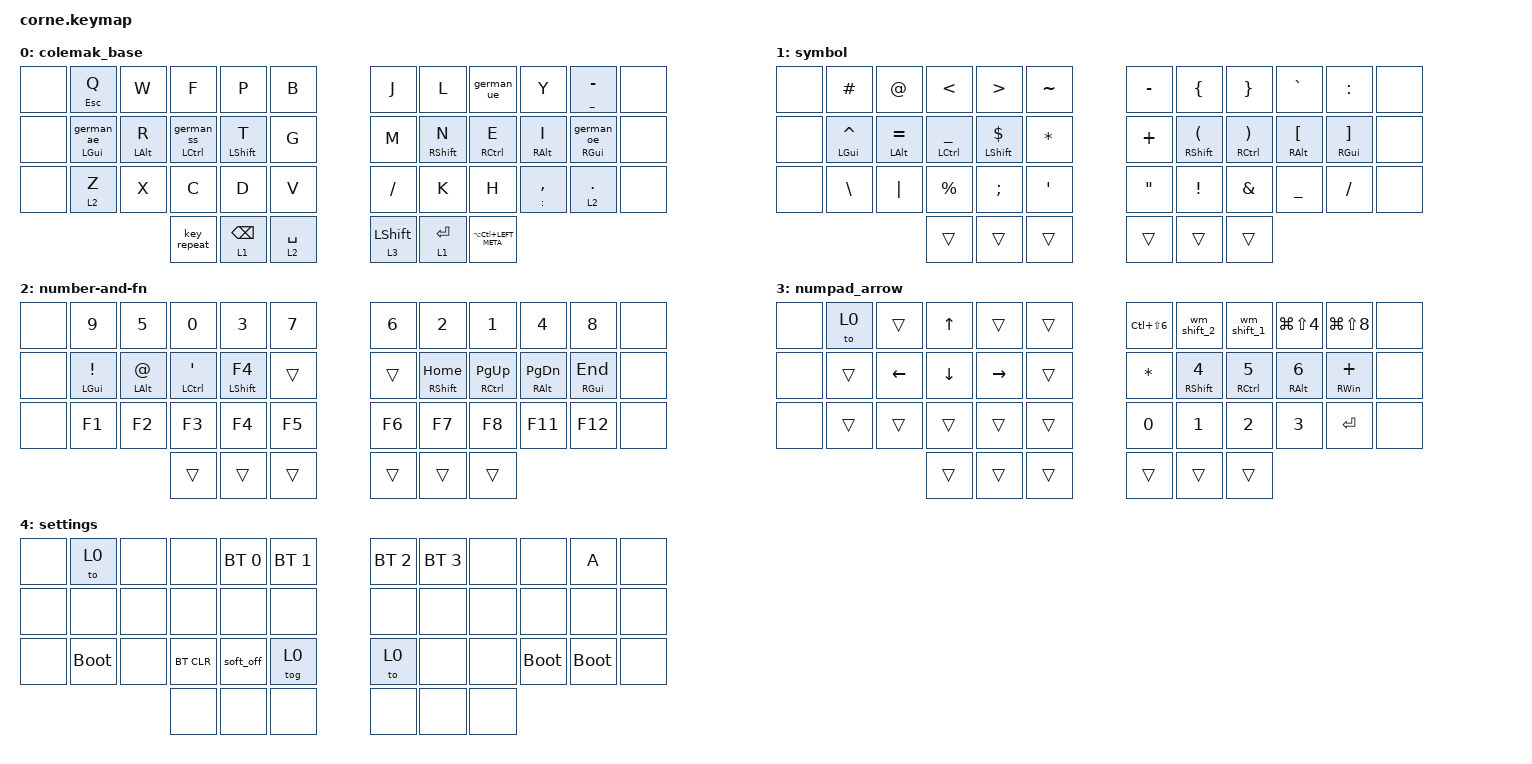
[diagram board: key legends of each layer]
/*
 * Copyright (c) 2020 The ZMK Contributors
 *
 * SPDX-License-Identifier: MIT
 */

#include <behaviors.dtsi>
#include <dt-bindings/zmk/bt.h>
#include <dt-bindings/zmk/keys.h>

#define QWERTY 0
#define SYM    1
#define SYM_2  2
#define FNC    3
#define FNC_2  4

&mt {
    //  flavor = "tap-preferred";
    // tapping_term_ms = <200>;

    tapping-term-ms = <230>;
    flavor = "balanced";
    quick-tap-ms = <180>;
};

/ {
    combos {
        compatible = "zmk,combos";

        esc {
            bindings = <&kp ESCAPE>;
            key-positions = <1 2>;
            layers = <0 1 2 3>;
        };

        cut {
            bindings = <&kp LC(X)>;
            key-positions = <26 27>;
            layers = <0 1 2 3>;
        };

        copy {
            bindings = <&kp LC(C)>;
            key-positions = <27 28>;
            layers = <0 1 2 3>;
        };

        paste {
            bindings = <&kp LC(V)>;
            key-positions = <29 28>;
            layers = <0 1 2 3>;
        };

        to_default {
            bindings = <&to 0>;
            key-positions = <10 1>;
            layers = <1 2 3 4>;
        };

        alt_quotes {
            bindings = <&kp SINGLE_QUOTE>;
            key-positions = <6 7>;
            layers = <0>;
        };

        numpad {
            bindings = <&to 3>;
            key-positions = <13 2 15>;
            layers = <0>;
        };

        backspace {
            bindings = <&kp BACKSPACE>;
            key-positions = <3 4>;
            layers = <0 2 3 1>;
        };

        delete {
            bindings = <&kp DELETE>;
            key-positions = <7 8>;
            layers = <0 1 2 3>;
        };

        settings {
            bindings = <&to 4>;
            key-positions = <1 2 3>;
            layers = <0>;
        };

        improve_prompt {
            bindings = <&llm_prompt>;
            key-positions = <21 37>;
            layers = <0>;
        };

        alt_ret {
            bindings = <&kp RET>;
            key-positions = <16 17>;
            layers = <0 1 2 3>;
        };

        capsword {
            bindings = <&custom_capsword>;
            key-positions = <34 33>;
            layers = <0>;
        };

        alt_tab {
            bindings = <&kp TAB>;
            key-positions = <19 18>;
        };

        alt_semi {
            bindings = <&kp SEMI>;
            key-positions = <5 4>;
        };

        zmk-stud {
            bindings = <&studio_unlock>;
            key-positions = <25 13 1>;
        };
    };

    macros {
        llm_prompt: llm_prompt {
            compatible = "zmk,behavior-macro";
            #binding-cells = <0>;
            bindings = <&kp LS(RET) &kp MINUS &kp MINUS &kp MINUS &kp SPACE &kp I &kp M &kp P &kp R &kp O &kp V &kp E &kp SPACE &kp T &kp H &kp E &kp SPACE &kp W &kp R &kp I &kp T &kp I &kp N &kp G &kp RETURN>;
            label = "LLM_PROMPT";
        };
    };

    behaviors {
        german_ae: german_ae {
            compatible = "zmk,behavior-mod-morph";
            label = "GERMAN_AE";
            bindings = <&kp A>, <&kp RA(A)>;

            #binding-cells = <0>;
            mods = <(MOD_LALT)>;
        };

        german_ue: german_ue {
            compatible = "zmk,behavior-mod-morph";
            label = "GERMAN_UE";
            bindings = <&kp U>, <&kp RA(U)>;

            #binding-cells = <0>;
            mods = <(MOD_LALT)>;
        };

        german_oe: german_oe {
            compatible = "zmk,behavior-mod-morph";
            label = "GERMAN_OE";
            bindings = <&kp O>, <&kp RA(O)>;

            #binding-cells = <0>;
            mods = <(MOD_LALT)>;
        };

        german_ss: german_ss {
            compatible = "zmk,behavior-mod-morph";
            label = "GERMAN_SS";
            bindings = <&kp S>, <&kp RA(S)>;

            #binding-cells = <0>;
            mods = <(MOD_LALT)>;
        };

        custom_capsword: custom_capsword {
            compatible = "zmk,behavior-caps-word";
            label = "CUSTOM_CAPSWORD";
            #binding-cells = <0>;
            continue-list = <COLON MINUS KP_MINUS SLASH BACKSLASH UNDERSCORE UNDER BACKSPACE>;
        };

        alt_a: alt_a {
            compatible = "zmk,behavior-hold-tap";
            label = "ALT_A";
            bindings = <&kp>, <&german_ae>;

            #binding-cells = <2>;
            flavor = "tap-preferred";
            tapping-term-ms = <230>;
        };

        alt_o: alt_o {
            compatible = "zmk,behavior-hold-tap";
            label = "ALT_O";
            bindings = <&kp>, <&german_oe>;

            #binding-cells = <2>;
            tapping-term-ms = <230>;
            flavor = "tap-preferred";
        };

        alt_s: alt_s {
            compatible = "zmk,behavior-hold-tap";
            label = "ALT_S";
            bindings = <&kp>, <&german_ss>;

            #binding-cells = <2>;
            tapping-term-ms = <230>;
            flavor = "tap-preferred";
        };

        exp: exp {
            compatible = "zmk,behavior-hold-tap";
            label = "EXP";
            bindings = <&mo>, <&sk>;

            #binding-cells = <2>;
            tapping-term-ms = <200>;
            quick-tap-ms = <200>;
            flavor = "balanced";
        };

        wm_shift_1: wm_shift_1 {
            compatible = "zmk,behavior-tap-dance";
            label = "WM_SHIFT_1";
            #binding-cells = <0>;
            bindings = <&kp LG(NUMBER_1)>, <&kp LS(LG(NUMBER_1))>;
        };

        wm_shift_2: wm_shift_2 {
            compatible = "zmk,behavior-tap-dance";
            label = "WM_SHIFT_2";
            #binding-cells = <0>;
            bindings = <&kp LG(NUMBER_2)>, <&kp LG(LS(NUMBER_2))>;
        };
    };

    keymap {
        compatible = "zmk,keymap";

        colemak_base {
            bindings = <
&none  &mt ESCAPE Q       &kp W           &kp F           &kp P             &kp B          &kp J              &kp L              &german_ue             &kp Y            &mt UNDER MINUS     &none
&none  &alt_a LEFT_GUI 0  &mt LEFT_ALT R  &alt_s LCTRL 0  &mt LEFT_SHIFT T  &kp G          &kp M              &mt RIGHT_SHIFT N  &mt RCTRL E            &mt RIGHT_ALT I  &alt_o RIGHT_GUI 0  &none
&none  &lt 2 Z            &kp X           &kp C           &kp D             &kp V          &kp SLASH          &kp K              &kp H                  &mt COLON COMMA  &lt 2 DOT           &none
                                          &key_repeat     &lt 1 BACKSPACE   &lt 2 SPACE    &exp 3 LEFT_SHIFT  &lt 1 RET          &kp LA(LC(LEFT_META))
            >;
        };

        symbol {
            bindings = <
&none  &kp HASH            &kp AT              &kp LESS_THAN         &kp GREATER_THAN       &kp TILDE           &kp MINUS  &kp LEFT_BRACE                    &kp RIGHT_BRACE              &kp GRAVE                   &kp COLON                    &none
&none  &mt LEFT_GUI CARET  &mt LEFT_ALT EQUAL  &mt LCTRL UNDERSCORE  &mt LEFT_SHIFT DOLLAR  &kp ASTERISK        &kp PLUS   &mt RIGHT_SHIFT LEFT_PARENTHESIS  &mt RCTRL RIGHT_PARENTHESIS  &mt RIGHT_ALT LEFT_BRACKET  &mt RIGHT_GUI RIGHT_BRACKET  &none
&none  &kp BACKSLASH       &kp PIPE            &kp PRCNT             &kp SEMI               &kp SINGLE_QUOTE    &kp DQT    &kp EXCL                          &kp AMPS                     &kp UNDER                   &kp SLASH                    &none
                                               &trans                &trans                 &trans              &trans     &trans                            &trans
            >;
        };

        number-and-fn {
            bindings = <
&none  &kp N9             &kp N5       &kp N0         &kp NUMBER_3       &kp N7    &kp N6  &kp NUMBER_2          &kp NUMBER_1       &kp NUMBER_4             &kp N8             &none
&none  &mt LEFT_GUI EXCL  &mt LALT AT  &mt LCTRL SQT  &mt LEFT_SHIFT F4  &trans    &trans  &mt RIGHT_SHIFT HOME  &mt RCTRL PAGE_UP  &mt RIGHT_ALT PAGE_DOWN  &mt RIGHT_GUI END  &none
&none  &kp F1             &kp F2       &kp F3         &kp F4             &kp F5    &kp F6  &kp F7                &kp F8             &kp F11                  &kp F12            &none
                                       &trans         &trans             &trans    &trans  &trans                &trans
            >;
        };

        numpad_arrow {
            bindings = <
&none  &to 0   &trans    &kp UP_ARROW  &trans     &trans    &kp LC(LS(NUMBER_6))  &wm_shift_2         &wm_shift_1   &kp LG(LS(NUMBER_4))  &kp LG(LS(N8))  &none
&none  &trans  &kp LEFT  &kp DOWN      &kp RIGHT  &trans    &kp ASTERISK          &mt RIGHT_SHIFT N4  &mt RCTRL N5  &mt RALT N6           &mt RWIN PLUS   &none
&none  &trans  &trans    &trans        &trans     &trans    &kp N0                &kp N1              &kp N2        &kp N3                &kp ENTER       &none
                         &trans        &trans     &trans    &trans                &trans              &trans
            >;
        };

        settings {
            bindings = <
&none  &to 0        &none  &none       &bt BT_SEL 0  &bt BT_SEL 1    &bt BT_SEL 2  &bt BT_SEL 3  &none  &none        &kp A        &none
&none  &none        &none  &none       &none         &none           &none         &none         &none  &none        &none        &none
&none  &bootloader  &none  &bt BT_CLR  &soft_off     &tog 0          &to 0         &none         &none  &bootloader  &bootloader  &none
                           &none       &none         &none           &none         &none         &none
            >;
        };
    };
};
